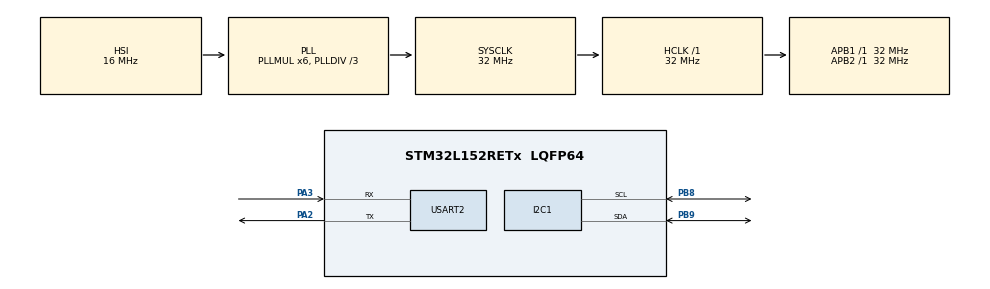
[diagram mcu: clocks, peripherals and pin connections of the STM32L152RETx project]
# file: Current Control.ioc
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Mcu.Family=STM32L1
Mcu.Name=STM32L152RETx
Mcu.Package=LQFP64
NVIC.PriorityGroup=NVIC_PRIORITYGROUP_0
PA2.Mode=Asynchronous
PA2.Signal=USART2_TX
PA3.Mode=Asynchronous
PA3.Signal=USART2_RX
PB8.Mode=I2C
PB8.Signal=I2C1_SCL
PB9.Mode=I2C
PB9.Signal=I2C1_SDA
ProjectManager.HeapSize=0x200
ProjectManager.StackSize=0x400
ProjectManager.TargetToolchain=MDK-ARM V5
RCC.48MHZClocksFreq_Value=48000000
RCC.AHBFreq_Value=32000000
RCC.APB1Freq_Value=32000000
RCC.APB1TimFreq_Value=32000000
RCC.APB2Freq_Value=32000000
RCC.APB2TimFreq_Value=32000000
RCC.HCLKFreq_Value=32000000
RCC.HSE_VALUE=8000000
RCC.HSI_VALUE=16000000
RCC.LSE_VALUE=32768
RCC.MSI_VALUE=2097000
RCC.PLLDIV=RCC_PLL_DIV3
RCC.PLLMUL=RCC_PLL_MUL6
RCC.RTCClockSelectionVirtual=RCC_RTCCLKSOURCE_LSE
RCC.SYSCLKFreq_VALUE=32000000
RCC.SYSCLKSource=RCC_SYSCLKSOURCE_PLLCLK
RCC.USBOutput=48000000
RCC.VCOOutputFreq_Value=96000000
USART2.VirtualMode=VM_ASYNC
board=NUCLEO-L152RE

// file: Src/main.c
/* USER CODE BEGIN Header */
/**
  ******************************************************************************
  * @file           : main.c
  * @brief          : Main program body
  ******************************************************************************
  * @attention
  *
  * <h2><center>&copy; Copyright (c) 2019 STMicroelectronics.
  * All rights reserved.</center></h2>
  *
  * This software component is licensed by ST under BSD 3-Clause license,
  * the "License"; You may not use this file except in compliance with the
  * License. You may obtain a copy of the License at:
  *                        opensource.org/licenses/BSD-3-Clause
  *
  ******************************************************************************
  */
/* USER CODE END Header */

#include "main.h"

/* USER CODE BEGIN Includes */
#include "Current_Control_Functions.h"
/* USER CODE END Includes */

I2C_HandleTypeDef hi2c1;

UART_HandleTypeDef huart2;

void SystemClock_Config(void);
static void MX_GPIO_Init(void);
static void MX_I2C1_Init(void);
static void MX_USART2_UART_Init(void);

int main(void)
{

  /* MCU Configuration--------------------------------------------------------*/

  /* Reset of all peripherals, Initializes the Flash interface and the Systick. */
  HAL_Init();

  /* Configure the system clock */
  SystemClock_Config();

  /* Initialize all configured peripherals */
  MX_GPIO_Init();
  MX_I2C1_Init();
  MX_USART2_UART_Init();
  /* USER CODE BEGIN 2 */

	uint16_t recv = 65535;

	char Msg1[100] = {0};
	char Msg2[100] = {0};
	uint16_t time =0;
	///////////////////////////Starting the Test////////////////////////////////////
	snprintf((char *)Msg1, sizeof(Msg1), "\nSTARTING THE Current Control TEST\n\n");
	HAL_UART_Transmit(&huart2, (uint8_t *) Msg1, sizeof(Msg1), 1);
	memcpy(Msg1, Msg2, 100);

	///////////////////////////checking for device ////////////////////////////////////
//	if (HAL_I2C_IsDeviceReady(&hi2c1,0x80,5,10) == HAL_OK)
//	{
//	snprintf((char *)Msg1, sizeof(Msg1), "\nFound Device on the specified adress\n");
//	HAL_UART_Transmit(&huart2, (uint8_t *) Msg1, sizeof(Msg1), 1);
//	memcpy(Msg1, Msg2, 100);
//	}
//	else
//	{
//	snprintf((char *)Msg1, sizeof(Msg1), "\nDevice is not found on the specified address\n\n");
//	HAL_UART_Transmit(&huart2, (uint8_t *) Msg1, sizeof(Msg1), 1);
//	memcpy(Msg1, Msg2, 100);
//	}

	//init function for the current controller
	int check = 5;
	check = CurrentSensorInit(&hi2c1);
	if (check == FAIL)
	{
	snprintf((char *)Msg1, sizeof(Msg1), "\nInitialization Failed\n");
		HAL_UART_Transmit(&huart2, (uint8_t *) Msg1, sizeof(Msg1), 1);
	memcpy(Msg1, Msg2, 100);
	}
	else
	{
	snprintf((char *)Msg1, sizeof(Msg1), "\nInitialized succesfully\n\n");
	HAL_UART_Transmit(&huart2, (uint8_t *) Msg1, sizeof(Msg1), 1);
	memcpy(Msg1, Msg2, 100);
	}
  /* USER CODE END 2 */

  /* Infinite loop */
  while (1)
  {

    /* USER CODE BEGIN 3 */
		snprintf((char *)Msg1, sizeof(Msg1), "\nRegister values at time :%d (11)sec\n",time);
		HAL_UART_Transmit(&huart2, (uint8_t *) Msg1, sizeof(Msg1), 1);
		memcpy(Msg1, Msg2, 100);

		float Shunt_Volt = Get_Shunt_Voltage(&hi2c1); //The output will be in VOLTS
		snprintf((char *)Msg1, sizeof(Msg1), "\t\t\t\t\tShunt Voltage is: %f V\n",Shunt_Volt);
		HAL_UART_Transmit(&huart2, (uint8_t *) Msg1, sizeof(Msg1), 1);
		memcpy(Msg1, Msg2, 100);

		float Bus_Volt = Get_Bus_Voltage(&hi2c1); //The output will be in VOLTS
		snprintf((char *)Msg1, sizeof(Msg1), "\t\t\t\t\t\t Bus Voltage is: %f V\n",Bus_Volt);
		HAL_UART_Transmit(&huart2, (uint8_t *) Msg1, sizeof(Msg1), 1);
		memcpy(Msg1, Msg2, 100);

		float Power =   Get_power(&hi2c1); //The output will be in MILLI_WATTS
		snprintf((char *)Msg1, sizeof(Msg1), "\t\t\t\t\t Power is: %f mW\n",Power);
		HAL_UART_Transmit(&huart2, (uint8_t *) Msg1, sizeof(Msg1), 1);
		memcpy(Msg1, Msg2, 100);

		float current = Get_Current(&hi2c1); //The output will be in MILLI_AMPS
		snprintf((char *)Msg1, sizeof(Msg1), "Current is: %f mA\n",current);
		HAL_UART_Transmit(&huart2, (uint8_t *) Msg1, sizeof(Msg1), 1);
		memcpy(Msg1, Msg2, 100);
		time++;
		HAL_Delay(11000);//delay for 11 sec
		}
  /* USER CODE END 3 */
}

void SystemClock_Config(void)
{
  RCC_OscInitTypeDef RCC_OscInitStruct = {0};
  RCC_ClkInitTypeDef RCC_ClkInitStruct = {0};

  /** Configure the main internal regulator output voltage
  */
  __HAL_PWR_VOLTAGESCALING_CONFIG(PWR_REGULATOR_VOLTAGE_SCALE1);
  /** Initializes the CPU, AHB and APB busses clocks
  */
  RCC_OscInitStruct.OscillatorType = RCC_OSCILLATORTYPE_HSI;
  RCC_OscInitStruct.HSIState = RCC_HSI_ON;
  RCC_OscInitStruct.HSICalibrationValue = RCC_HSICALIBRATION_DEFAULT;
  RCC_OscInitStruct.PLL.PLLState = RCC_PLL_ON;
  RCC_OscInitStruct.PLL.PLLSource = RCC_PLLSOURCE_HSI;
  RCC_OscInitStruct.PLL.PLLMUL = RCC_PLL_MUL6;
  RCC_OscInitStruct.PLL.PLLDIV = RCC_PLL_DIV3;
  if (HAL_RCC_OscConfig(&RCC_OscInitStruct) != HAL_OK)
  {
    Error_Handler();
  }
  /** Initializes the CPU, AHB and APB busses clocks
  */
  RCC_ClkInitStruct.ClockType = RCC_CLOCKTYPE_HCLK|RCC_CLOCKTYPE_SYSCLK
                              |RCC_CLOCKTYPE_PCLK1|RCC_CLOCKTYPE_PCLK2;
  RCC_ClkInitStruct.SYSCLKSource = RCC_SYSCLKSOURCE_PLLCLK;
  RCC_ClkInitStruct.AHBCLKDivider = RCC_SYSCLK_DIV1;
  RCC_ClkInitStruct.APB1CLKDivider = RCC_HCLK_DIV1;
  RCC_ClkInitStruct.APB2CLKDivider = RCC_HCLK_DIV1;

  if (HAL_RCC_ClockConfig(&RCC_ClkInitStruct, FLASH_LATENCY_1) != HAL_OK)
  {
    Error_Handler();
  }
}

static void MX_I2C1_Init(void)
{

  hi2c1.Instance = I2C1;
  hi2c1.Init.ClockSpeed = 100000;
  hi2c1.Init.DutyCycle = I2C_DUTYCYCLE_2;
  hi2c1.Init.OwnAddress1 = 0;
  hi2c1.Init.AddressingMode = I2C_ADDRESSINGMODE_7BIT;
  hi2c1.Init.DualAddressMode = I2C_DUALADDRESS_DISABLE;
  hi2c1.Init.OwnAddress2 = 0;
  hi2c1.Init.GeneralCallMode = I2C_GENERALCALL_DISABLE;
  hi2c1.Init.NoStretchMode = I2C_NOSTRETCH_DISABLE;
  if (HAL_I2C_Init(&hi2c1) != HAL_OK)
  {
    Error_Handler();
  }

}

static void MX_USART2_UART_Init(void)
{

  huart2.Instance = USART2;
  huart2.Init.BaudRate = 115200;
  huart2.Init.WordLength = UART_WORDLENGTH_8B;
  huart2.Init.StopBits = UART_STOPBITS_1;
  huart2.Init.Parity = UART_PARITY_NONE;
  huart2.Init.Mode = UART_MODE_TX_RX;
  huart2.Init.HwFlowCtl = UART_HWCONTROL_NONE;
  huart2.Init.OverSampling = UART_OVERSAMPLING_16;
  if (HAL_UART_Init(&huart2) != HAL_OK)
  {
    Error_Handler();
  }

}

static void MX_GPIO_Init(void)
{

  /* GPIO Ports Clock Enable */
  __HAL_RCC_GPIOA_CLK_ENABLE();
  __HAL_RCC_GPIOB_CLK_ENABLE();

}

void Error_Handler(void)
{
}

/************************ (C) COPYRIGHT STMicroelectronics *****END OF FILE****/
